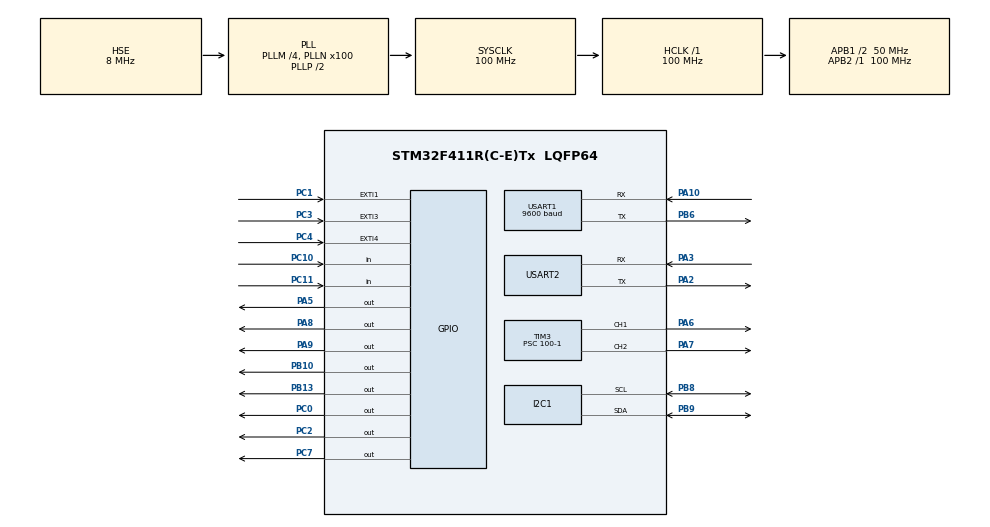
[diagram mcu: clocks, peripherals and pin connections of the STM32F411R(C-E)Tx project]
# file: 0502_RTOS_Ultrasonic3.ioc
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FREERTOS.Tasks01=defaultTask,0,128,StartDefaultTask,Default,NULL,Dynamic,NULL,NULL;listenerTask,0,128,ListenerTask,Default,NULL,Dynamic,NULL,NULL;controllerTask,0,128,ControllerTask,Default,NULL,Dynamic,NULL,NULL;presenterTask,0,128,PresenterTask,Default,NULL,Dynamic,NULL,NULL
FREERTOS.configUSE_NEWLIB_REENTRANT=1
Mcu.Family=STM32F4
Mcu.Name=STM32F411R(C-E)Tx
Mcu.Package=LQFP64
NVIC.EXTI1_IRQn=true\:5\:0\:false\:false\:true\:true\:true\:true\:true
NVIC.EXTI3_IRQn=true\:5\:0\:false\:false\:true\:true\:true\:true\:true
NVIC.EXTI4_IRQn=true\:5\:0\:false\:false\:true\:true\:true\:true\:true
NVIC.PriorityGroup=NVIC_PRIORITYGROUP_4
NVIC.TIM1_TRG_COM_TIM11_IRQn=true\:15\:0\:false\:false\:true\:false\:false\:true\:true
NVIC.TimeBase=TIM1_TRG_COM_TIM11_IRQn
NVIC.TimeBaseIP=TIM11
NVIC.USART1_IRQn=true\:5\:0\:false\:false\:true\:true\:true\:true\:true
NVIC.USART2_IRQn=true\:5\:0\:false\:false\:true\:true\:true\:true\:true
PA10.Mode=Asynchronous
PA10.Signal=USART1_RX
PA13.Mode=Serial_Wire
PA13.Signal=SYS_JTMS-SWDIO
PA14.Mode=Serial_Wire
PA14.Signal=SYS_JTCK-SWCLK
PA2.Mode=Asynchronous
PA2.Signal=USART2_TX
PA3.Mode=Asynchronous
PA3.Signal=USART2_RX
PA5.Signal=GPIO_Output
PA6.Signal=S_TIM3_CH1
PA7.Signal=S_TIM3_CH2
PA8.Signal=GPIO_Output
PA9.Signal=GPIO_Output
PB10.Signal=GPIO_Output
PB13.Signal=GPIO_Output
PB6.Mode=Asynchronous
PB6.Signal=USART1_TX
PB8.Mode=I2C
PB8.Signal=I2C1_SCL
PB9.Mode=I2C
PB9.Signal=I2C1_SDA
PC0.Signal=GPIO_Output
PC1.GPIO_ModeDefaultEXTI=GPIO_MODE_IT_RISING_FALLING
PC1.Signal=GPXTI1
PC10.Signal=GPIO_Input
PC11.Signal=GPIO_Input
PC2.Signal=GPIO_Output
PC3.GPIO_ModeDefaultEXTI=GPIO_MODE_IT_RISING_FALLING
PC3.Signal=GPXTI3
PC4.GPIO_ModeDefaultEXTI=GPIO_MODE_IT_RISING_FALLING
PC4.Signal=GPXTI4
PC7.Signal=GPIO_Output
PH0\ -\ OSC_IN.Mode=HSE-External-Oscillator
PH0\ -\ OSC_IN.Signal=RCC_OSC_IN
PH1\ -\ OSC_OUT.Mode=HSE-External-Oscillator
PH1\ -\ OSC_OUT.Signal=RCC_OSC_OUT
ProjectManager.HeapSize=0x200
ProjectManager.StackSize=0x400
ProjectManager.TargetToolchain=STM32CubeIDE
RCC.48MHZClocksFreq_Value=50000000
RCC.AHBFreq_Value=100000000
RCC.APB1CLKDivider=RCC_HCLK_DIV2
RCC.APB1Freq_Value=50000000
RCC.APB1TimFreq_Value=100000000
RCC.APB2Freq_Value=100000000
RCC.APB2TimFreq_Value=100000000
RCC.CortexFreq_Value=100000000
RCC.HCLKFreq_Value=100000000
RCC.HSE_VALUE=8000000
RCC.HSI_VALUE=16000000
RCC.LSE_VALUE=32768
RCC.PLLM=4
RCC.PLLN=100
RCC.PLLSourceVirtual=RCC_PLLSOURCE_HSE
RCC.SYSCLKFreq_VALUE=100000000
RCC.SYSCLKSource=RCC_SYSCLKSOURCE_PLLCLK
RCC.VCOOutputFreq_Value=200000000
SH.S_TIM3_CH1.0=TIM3_CH1,PWM Generation1 CH1
SH.S_TIM3_CH2.0=TIM3_CH2,PWM Generation2 CH2
TIM1.Prescaler=100-1
TIM2.Prescaler=100-1
TIM3.Channel-PWM\ Generation1\ CH1=TIM_CHANNEL_1
TIM3.Channel-PWM\ Generation2\ CH2=TIM_CHANNEL_2
TIM3.Period=1000-1
TIM3.Prescaler=100-1
TIM4.Prescaler=100-1
USART1.BaudRate=9600
USART1.VirtualMode=VM_ASYNC
USART2.VirtualMode=VM_ASYNC
VP_FREERTOS_VS_CMSIS_V1.Mode=CMSIS_V1
VP_SYS_VS_tim11.Mode=TIM11
VP_TIM1_VS_ClockSourceINT.Mode=Internal
VP_TIM2_VS_ClockSourceINT.Mode=Internal
VP_TIM3_VS_ClockSourceINT.Mode=Internal
VP_TIM4_VS_ClockSourceINT.Mode=Internal
board=custom

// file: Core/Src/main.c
/* USER CODE BEGIN Header */
/**
 ******************************************************************************
 * @file
 *         : main.c
 * @brief          : Main program body
 ******************************************************************************
 * @attention
 *
 * Copyright (c) 2024 STMicroelectronics.
 * All rights reserved.
 *
 * This software is licensed under terms that can be found in the LICENSE file
 * in the root directory of this software component.
 * If no LICENSE file comes with this software, it is provided AS-IS.
 *
 ******************************************************************************
 */
/* USER CODE END Header */
#include "main.h"
#include "cmsis_os.h"

/* USER CODE BEGIN Includes */
#include "../driver/LCD/LCD.h"
/* USER CODE END Includes */

I2C_HandleTypeDef hi2c1;

TIM_HandleTypeDef htim1;
TIM_HandleTypeDef htim2;
TIM_HandleTypeDef htim3;
TIM_HandleTypeDef htim4;

UART_HandleTypeDef huart1;
UART_HandleTypeDef huart2;

osThreadId defaultTaskHandle;
osThreadId listenerTaskHandle;
osThreadId controllerTaskHandle;
osThreadId presenterTaskHandle;

void SystemClock_Config(void);
static void MX_GPIO_Init(void);
static void MX_USART2_UART_Init(void);
static void MX_I2C1_Init(void);
static void MX_USART1_UART_Init(void);
static void MX_TIM3_Init(void);
static void MX_TIM1_Init(void);
static void MX_TIM2_Init(void);
static void MX_TIM4_Init(void);
void StartDefaultTask(void const * argument);
void ListenerTask(void const * argument);
void ControllerTask(void const * argument);
void PresenterTask(void const * argument);

/* USER CODE BEGIN 0 */
uint8_t uart1RxData, uart2RxData;

void HAL_UART_RxCpltCallback(UART_HandleTypeDef *huart) {
	if (huart->Instance == USART1) {
		Listener_UART_ISR_Process(uart1RxData);
		HAL_UART_Transmit(&huart2, &uart1RxData, 1, 100);
		HAL_UART_Receive_IT(&huart1, &uart1RxData, 1);
	}
	if (huart->Instance == USART2) {
		Listener_UART_ISR_Process(uart2RxData);
		HAL_UART_Transmit(&huart2, &uart2RxData, 1, 100);
		HAL_UART_Receive_IT(&huart2, &uart2RxData, 1);
	}
}

void HAL_GPIO_EXTI_Callback(uint16_t GPIO_Pin) {
	Listener_US_ISR_Process(GPIO_Pin);
}
int _write(int file, char *ptr, int len)
{
  HAL_UART_Transmit(&huart2, (uint8_t *)ptr, len, 1000);
  return len;
}
/* USER CODE END 0 */

int main(void)
{

  /* MCU Configuration--------------------------------------------------------*/

  /* Reset of all peripherals, Initializes the Flash interface and the Systick. */
  HAL_Init();

  /* Configure the system clock */
  SystemClock_Config();

  /* Initialize all configured peripherals */
  MX_GPIO_Init();
  MX_USART2_UART_Init();
  MX_I2C1_Init();
  MX_USART1_UART_Init();
  MX_TIM3_Init();
  MX_TIM1_Init();
  MX_TIM2_Init();
  MX_TIM4_Init();
  /* USER CODE BEGIN 2 */
	LCD_init(&hi2c1);
	HAL_UART_Receive_IT(&huart2, &uart2RxData, 1);
	HAL_UART_Receive_IT(&huart1, &uart1RxData, 1);
  /* USER CODE END 2 */

  /* Create the thread(s) */
  /* definition and creation of defaultTask */
  osThreadDef(defaultTask, StartDefaultTask, osPriorityNormal, 0, 128);
  defaultTaskHandle = osThreadCreate(osThread(defaultTask), NULL);

  /* definition and creation of listenerTask */
  osThreadDef(listenerTask, ListenerTask, osPriorityNormal, 0, 128);
  listenerTaskHandle = osThreadCreate(osThread(listenerTask), NULL);

  /* definition and creation of controllerTask */
  osThreadDef(controllerTask, ControllerTask, osPriorityNormal, 0, 128);
  controllerTaskHandle = osThreadCreate(osThread(controllerTask), NULL);

  /* definition and creation of presenterTask */
  osThreadDef(presenterTask, PresenterTask, osPriorityNormal, 0, 128);
  presenterTaskHandle = osThreadCreate(osThread(presenterTask), NULL);

  /* Start scheduler */
  osKernelStart();

  /* We should never get here as control is now taken by the scheduler */
  /* Infinite loop */
	while (1) {

	}
}

void SystemClock_Config(void)
{
  RCC_OscInitTypeDef RCC_OscInitStruct = {0};
  RCC_ClkInitTypeDef RCC_ClkInitStruct = {0};

  /** Configure the main internal regulator output voltage
  */
  __HAL_RCC_PWR_CLK_ENABLE();
  __HAL_PWR_VOLTAGESCALING_CONFIG(PWR_REGULATOR_VOLTAGE_SCALE1);

  /** Initializes the RCC Oscillators according to the specified parameters
  * in the RCC_OscInitTypeDef structure.
  */
  RCC_OscInitStruct.OscillatorType = RCC_OSCILLATORTYPE_HSE;
  RCC_OscInitStruct.HSEState = RCC_HSE_ON;
  RCC_OscInitStruct.PLL.PLLState = RCC_PLL_ON;
  RCC_OscInitStruct.PLL.PLLSource = RCC_PLLSOURCE_HSE;
  RCC_OscInitStruct.PLL.PLLM = 4;
  RCC_OscInitStruct.PLL.PLLN = 100;
  RCC_OscInitStruct.PLL.PLLP = RCC_PLLP_DIV2;
  RCC_OscInitStruct.PLL.PLLQ = 4;
  if (HAL_RCC_OscConfig(&RCC_OscInitStruct) != HAL_OK)
  {
    Error_Handler();
  }

  /** Initializes the CPU, AHB and APB buses clocks
  */
  RCC_ClkInitStruct.ClockType = RCC_CLOCKTYPE_HCLK|RCC_CLOCKTYPE_SYSCLK
                              |RCC_CLOCKTYPE_PCLK1|RCC_CLOCKTYPE_PCLK2;
  RCC_ClkInitStruct.SYSCLKSource = RCC_SYSCLKSOURCE_PLLCLK;
  RCC_ClkInitStruct.AHBCLKDivider = RCC_SYSCLK_DIV1;
  RCC_ClkInitStruct.APB1CLKDivider = RCC_HCLK_DIV2;
  RCC_ClkInitStruct.APB2CLKDivider = RCC_HCLK_DIV1;

  if (HAL_RCC_ClockConfig(&RCC_ClkInitStruct, FLASH_LATENCY_3) != HAL_OK)
  {
    Error_Handler();
  }
}

static void MX_I2C1_Init(void)
{

  hi2c1.Instance = I2C1;
  hi2c1.Init.ClockSpeed = 100000;
  hi2c1.Init.DutyCycle = I2C_DUTYCYCLE_2;
  hi2c1.Init.OwnAddress1 = 0;
  hi2c1.Init.AddressingMode = I2C_ADDRESSINGMODE_7BIT;
  hi2c1.Init.DualAddressMode = I2C_DUALADDRESS_DISABLE;
  hi2c1.Init.OwnAddress2 = 0;
  hi2c1.Init.GeneralCallMode = I2C_GENERALCALL_DISABLE;
  hi2c1.Init.NoStretchMode = I2C_NOSTRETCH_DISABLE;
  if (HAL_I2C_Init(&hi2c1) != HAL_OK)
  {
    Error_Handler();
  }

}

static void MX_TIM1_Init(void)
{

  TIM_ClockConfigTypeDef sClockSourceConfig = {0};
  TIM_MasterConfigTypeDef sMasterConfig = {0};

  htim1.Instance = TIM1;
  htim1.Init.Prescaler = 100-1;
  htim1.Init.CounterMode = TIM_COUNTERMODE_UP;
  htim1.Init.Period = 65535;
  htim1.Init.ClockDivision = TIM_CLOCKDIVISION_DIV1;
  htim1.Init.RepetitionCounter = 0;
  htim1.Init.AutoReloadPreload = TIM_AUTORELOAD_PRELOAD_DISABLE;
  if (HAL_TIM_Base_Init(&htim1) != HAL_OK)
  {
    Error_Handler();
  }
  sClockSourceConfig.ClockSource = TIM_CLOCKSOURCE_INTERNAL;
  if (HAL_TIM_ConfigClockSource(&htim1, &sClockSourceConfig) != HAL_OK)
  {
    Error_Handler();
  }
  sMasterConfig.MasterOutputTrigger = TIM_TRGO_RESET;
  sMasterConfig.MasterSlaveMode = TIM_MASTERSLAVEMODE_DISABLE;
  if (HAL_TIMEx_MasterConfigSynchronization(&htim1, &sMasterConfig) != HAL_OK)
  {
    Error_Handler();
  }

}

static void MX_TIM2_Init(void)
{

  TIM_ClockConfigTypeDef sClockSourceConfig = {0};
  TIM_MasterConfigTypeDef sMasterConfig = {0};

  htim2.Instance = TIM2;
  htim2.Init.Prescaler = 100-1;
  htim2.Init.CounterMode = TIM_COUNTERMODE_UP;
  htim2.Init.Period = 4294967295;
  htim2.Init.ClockDivision = TIM_CLOCKDIVISION_DIV1;
  htim2.Init.AutoReloadPreload = TIM_AUTORELOAD_PRELOAD_DISABLE;
  if (HAL_TIM_Base_Init(&htim2) != HAL_OK)
  {
    Error_Handler();
  }
  sClockSourceConfig.ClockSource = TIM_CLOCKSOURCE_INTERNAL;
  if (HAL_TIM_ConfigClockSource(&htim2, &sClockSourceConfig) != HAL_OK)
  {
    Error_Handler();
  }
  sMasterConfig.MasterOutputTrigger = TIM_TRGO_RESET;
  sMasterConfig.MasterSlaveMode = TIM_MASTERSLAVEMODE_DISABLE;
  if (HAL_TIMEx_MasterConfigSynchronization(&htim2, &sMasterConfig) != HAL_OK)
  {
    Error_Handler();
  }

}

static void MX_TIM3_Init(void)
{

  TIM_ClockConfigTypeDef sClockSourceConfig = {0};
  TIM_MasterConfigTypeDef sMasterConfig = {0};
  TIM_OC_InitTypeDef sConfigOC = {0};

  htim3.Instance = TIM3;
  htim3.Init.Prescaler = 100-1;
  htim3.Init.CounterMode = TIM_COUNTERMODE_UP;
  htim3.Init.Period = 1000-1;
  htim3.Init.ClockDivision = TIM_CLOCKDIVISION_DIV1;
  htim3.Init.AutoReloadPreload = TIM_AUTORELOAD_PRELOAD_DISABLE;
  if (HAL_TIM_Base_Init(&htim3) != HAL_OK)
  {
    Error_Handler();
  }
  sClockSourceConfig.ClockSource = TIM_CLOCKSOURCE_INTERNAL;
  if (HAL_TIM_ConfigClockSource(&htim3, &sClockSourceConfig) != HAL_OK)
  {
    Error_Handler();
  }
  if (HAL_TIM_PWM_Init(&htim3) != HAL_OK)
  {
    Error_Handler();
  }
  sMasterConfig.MasterOutputTrigger = TIM_TRGO_RESET;
  sMasterConfig.MasterSlaveMode = TIM_MASTERSLAVEMODE_DISABLE;
  if (HAL_TIMEx_MasterConfigSynchronization(&htim3, &sMasterConfig) != HAL_OK)
  {
    Error_Handler();
  }
  sConfigOC.OCMode = TIM_OCMODE_PWM1;
  sConfigOC.Pulse = 0;
  sConfigOC.OCPolarity = TIM_OCPOLARITY_HIGH;
  sConfigOC.OCFastMode = TIM_OCFAST_DISABLE;
  if (HAL_TIM_PWM_ConfigChannel(&htim3, &sConfigOC, TIM_CHANNEL_1) != HAL_OK)
  {
    Error_Handler();
  }
  if (HAL_TIM_PWM_ConfigChannel(&htim3, &sConfigOC, TIM_CHANNEL_2) != HAL_OK)
  {
    Error_Handler();
  }
  HAL_TIM_MspPostInit(&htim3);

}

static void MX_TIM4_Init(void)
{

  TIM_ClockConfigTypeDef sClockSourceConfig = {0};
  TIM_MasterConfigTypeDef sMasterConfig = {0};

  htim4.Instance = TIM4;
  htim4.Init.Prescaler = 100-1;
  htim4.Init.CounterMode = TIM_COUNTERMODE_UP;
  htim4.Init.Period = 65535;
  htim4.Init.ClockDivision = TIM_CLOCKDIVISION_DIV1;
  htim4.Init.AutoReloadPreload = TIM_AUTORELOAD_PRELOAD_DISABLE;
  if (HAL_TIM_Base_Init(&htim4) != HAL_OK)
  {
    Error_Handler();
  }
  sClockSourceConfig.ClockSource = TIM_CLOCKSOURCE_INTERNAL;
  if (HAL_TIM_ConfigClockSource(&htim4, &sClockSourceConfig) != HAL_OK)
  {
    Error_Handler();
  }
  sMasterConfig.MasterOutputTrigger = TIM_TRGO_RESET;
  sMasterConfig.MasterSlaveMode = TIM_MASTERSLAVEMODE_DISABLE;
  if (HAL_TIMEx_MasterConfigSynchronization(&htim4, &sMasterConfig) != HAL_OK)
  {
    Error_Handler();
  }

}

static void MX_USART1_UART_Init(void)
{

  huart1.Instance = USART1;
  huart1.Init.BaudRate = 9600;
  huart1.Init.WordLength = UART_WORDLENGTH_8B;
  huart1.Init.StopBits = UART_STOPBITS_1;
  huart1.Init.Parity = UART_PARITY_NONE;
  huart1.Init.Mode = UART_MODE_TX_RX;
  huart1.Init.HwFlowCtl = UART_HWCONTROL_NONE;
  huart1.Init.OverSampling = UART_OVERSAMPLING_16;
  if (HAL_UART_Init(&huart1) != HAL_OK)
  {
    Error_Handler();
  }

}

static void MX_USART2_UART_Init(void)
{

  huart2.Instance = USART2;
  huart2.Init.BaudRate = 115200;
  huart2.Init.WordLength = UART_WORDLENGTH_8B;
  huart2.Init.StopBits = UART_STOPBITS_1;
  huart2.Init.Parity = UART_PARITY_NONE;
  huart2.Init.Mode = UART_MODE_TX_RX;
  huart2.Init.HwFlowCtl = UART_HWCONTROL_NONE;
  huart2.Init.OverSampling = UART_OVERSAMPLING_16;
  if (HAL_UART_Init(&huart2) != HAL_OK)
  {
    Error_Handler();
  }

}

static void MX_GPIO_Init(void)
{
  GPIO_InitTypeDef GPIO_InitStruct = {0};

  /* GPIO Ports Clock Enable */
  __HAL_RCC_GPIOH_CLK_ENABLE();
  __HAL_RCC_GPIOC_CLK_ENABLE();
  __HAL_RCC_GPIOA_CLK_ENABLE();
  __HAL_RCC_GPIOB_CLK_ENABLE();

  /*Configure GPIO pin Output Level */
  HAL_GPIO_WritePin(GPIOC, GPIO_PIN_0|GPIO_PIN_2|GPIO_PIN_7, GPIO_PIN_RESET);

  /*Configure GPIO pin Output Level */
  HAL_GPIO_WritePin(GPIOA, GPIO_PIN_5|GPIO_PIN_8|GPIO_PIN_9, GPIO_PIN_RESET);

  /*Configure GPIO pin Output Level */
  HAL_GPIO_WritePin(GPIOB, GPIO_PIN_10|GPIO_PIN_13, GPIO_PIN_RESET);

  /*Configure GPIO pins : PC0 PC2 PC7 */
  GPIO_InitStruct.Pin = GPIO_PIN_0|GPIO_PIN_2|GPIO_PIN_7;
  GPIO_InitStruct.Mode = GPIO_MODE_OUTPUT_PP;
  GPIO_InitStruct.Pull = GPIO_NOPULL;
  GPIO_InitStruct.Speed = GPIO_SPEED_FREQ_LOW;
  HAL_GPIO_Init(GPIOC, &GPIO_InitStruct);

  /*Configure GPIO pins : PC1 PC3 PC4 */
  GPIO_InitStruct.Pin = GPIO_PIN_1|GPIO_PIN_3|GPIO_PIN_4;
  GPIO_InitStruct.Mode = GPIO_MODE_IT_RISING_FALLING;
  GPIO_InitStruct.Pull = GPIO_NOPULL;
  HAL_GPIO_Init(GPIOC, &GPIO_InitStruct);

  /*Configure GPIO pins : PA5 PA8 PA9 */
  GPIO_InitStruct.Pin = GPIO_PIN_5|GPIO_PIN_8|GPIO_PIN_9;
  GPIO_InitStruct.Mode = GPIO_MODE_OUTPUT_PP;
  GPIO_InitStruct.Pull = GPIO_NOPULL;
  GPIO_InitStruct.Speed = GPIO_SPEED_FREQ_LOW;
  HAL_GPIO_Init(GPIOA, &GPIO_InitStruct);

  /*Configure GPIO pins : PB10 PB13 */
  GPIO_InitStruct.Pin = GPIO_PIN_10|GPIO_PIN_13;
  GPIO_InitStruct.Mode = GPIO_MODE_OUTPUT_PP;
  GPIO_InitStruct.Pull = GPIO_NOPULL;
  GPIO_InitStruct.Speed = GPIO_SPEED_FREQ_LOW;
  HAL_GPIO_Init(GPIOB, &GPIO_InitStruct);

  /*Configure GPIO pins : PC10 PC11 */
  GPIO_InitStruct.Pin = GPIO_PIN_10|GPIO_PIN_11;
  GPIO_InitStruct.Mode = GPIO_MODE_INPUT;
  GPIO_InitStruct.Pull = GPIO_NOPULL;
  HAL_GPIO_Init(GPIOC, &GPIO_InitStruct);

  /* EXTI interrupt init*/
  HAL_NVIC_SetPriority(EXTI1_IRQn, 5, 0);
  HAL_NVIC_EnableIRQ(EXTI1_IRQn);

  HAL_NVIC_SetPriority(EXTI3_IRQn, 5, 0);
  HAL_NVIC_EnableIRQ(EXTI3_IRQn);

  HAL_NVIC_SetPriority(EXTI4_IRQn, 5, 0);
  HAL_NVIC_EnableIRQ(EXTI4_IRQn);

}

void StartDefaultTask(void const * argument)
{
  /* USER CODE BEGIN 5 */
	/* Infinite loop */
	for (;;) {
		HAL_GPIO_TogglePin(GPIOA, GPIO_PIN_5);
		osDelay(500);
	}
  /* USER CODE END 5 */
}

void ListenerTask(void const * argument)
{
  /* USER CODE BEGIN ListenerTask */
	Listner_init(&htim1, &htim2 ,&htim4);
	/* Infinite loop */
	for (;;) {
		Listener_Button();
		Listener_UltraSonic_Distance();
		osDelay(100);
	}
  /* USER CODE END ListenerTask */
}

void ControllerTask(void const * argument)
{
  /* USER CODE BEGIN ControllerTask */
	Controller_init();
	/* Infinite loop */
	for (;;) {
		Controller_excuteTask();
		osDelay(1);
	}
  /* USER CODE END ControllerTask */
}

void PresenterTask(void const * argument)
{
  /* USER CODE BEGIN PresenterTask */
	Presenter_Init();
	/* Infinite loop */
	for (;;) {
		Presenter_excuteTask();
		osDelay(1);
	}
  /* USER CODE END PresenterTask */
}

void HAL_TIM_PeriodElapsedCallback(TIM_HandleTypeDef *htim)
{
  if (htim->Instance == TIM11) {
    HAL_IncTick();
  }
}

void Error_Handler(void)
{
	__disable_irq();
	while (1) {
	}
}
